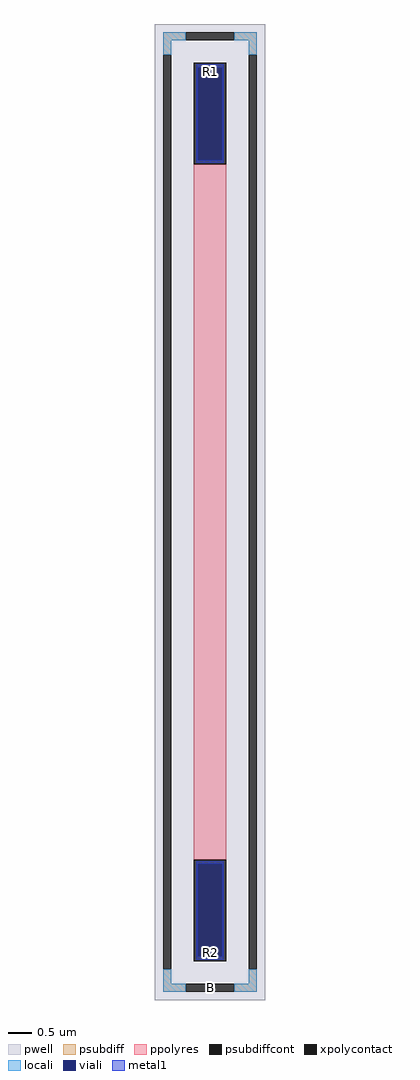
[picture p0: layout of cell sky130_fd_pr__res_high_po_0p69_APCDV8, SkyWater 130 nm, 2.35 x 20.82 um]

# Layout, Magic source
magic
tech sky130A
magscale 1 2
<< pwell >>
rect -235 -2082 235 2082
<< psubdiff >>
rect -199 2012 -103 2046
rect 103 2012 199 2046
rect -199 1950 -165 2012
rect 165 1950 199 2012
rect -199 -2012 -165 -1950
rect 165 -2012 199 -1950
rect -199 -2046 -103 -2012
rect 103 -2046 199 -2012
<< psubdiffcont >>
rect -103 2012 103 2046
rect -199 -1950 -165 1950
rect 165 -1950 199 1950
rect -103 -2046 103 -2012
<< xpolycontact >>
rect -69 1484 69 1916
rect -69 -1916 69 -1484
<< ppolyres >>
rect -69 -1484 69 1484
<< locali >>
rect -199 2012 -103 2046
rect 103 2012 199 2046
rect -199 1950 -165 2012
rect 165 1950 199 2012
rect -199 -2012 -165 -1950
rect 165 -2012 199 -1950
rect -199 -2046 -103 -2012
rect 103 -2046 199 -2012
<< viali >>
rect -53 1501 53 1898
rect -53 -1898 53 -1501
<< metal1 >>
rect -59 1898 59 1910
rect -59 1501 -53 1898
rect 53 1501 59 1898
rect -59 1489 59 1501
rect -59 -1501 59 -1489
rect -59 -1898 -53 -1501
rect 53 -1898 59 -1501
rect -59 -1910 59 -1898
<< labels >>
rlabel psubdiffcont 0 -2029 0 -2029 0 B
port 1 nsew
rlabel xpolycontact 0 1881 0 1881 0 R1
port 2 nsew
rlabel xpolycontact 0 -1881 0 -1881 0 R2
port 3 nsew
<< properties >>
string FIXED_BBOX -182 -2029 182 2029
string gencell sky130_fd_pr__res_high_po_0p69
string library sky130
string parameters w 0.690 l 15.0 m 1 nx 1 wmin 0.690 lmin 0.50 class resistor rho 319.8 val 7.516k dummy 0 dw 0.0 term 194.82 sterm 0.0 caplen 0 guard 1 glc 1 grc 1 gtc 1 gbc 1 compatible {sky130_fd_pr__res_high_po_0p35  sky130_fd_pr__res_high_po_0p69 sky130_fd_pr__res_high_po_1p41  sky130_fd_pr__res_high_po_2p85 sky130_fd_pr__res_high_po_5p73} snake 0 full_metal 1 wmax 0.690 n_guard 0 hv_guard 0 vias 1 viagb 0 viagt 0 viagl 0 viagr 0 doports 1 mult 1
<< end >>
